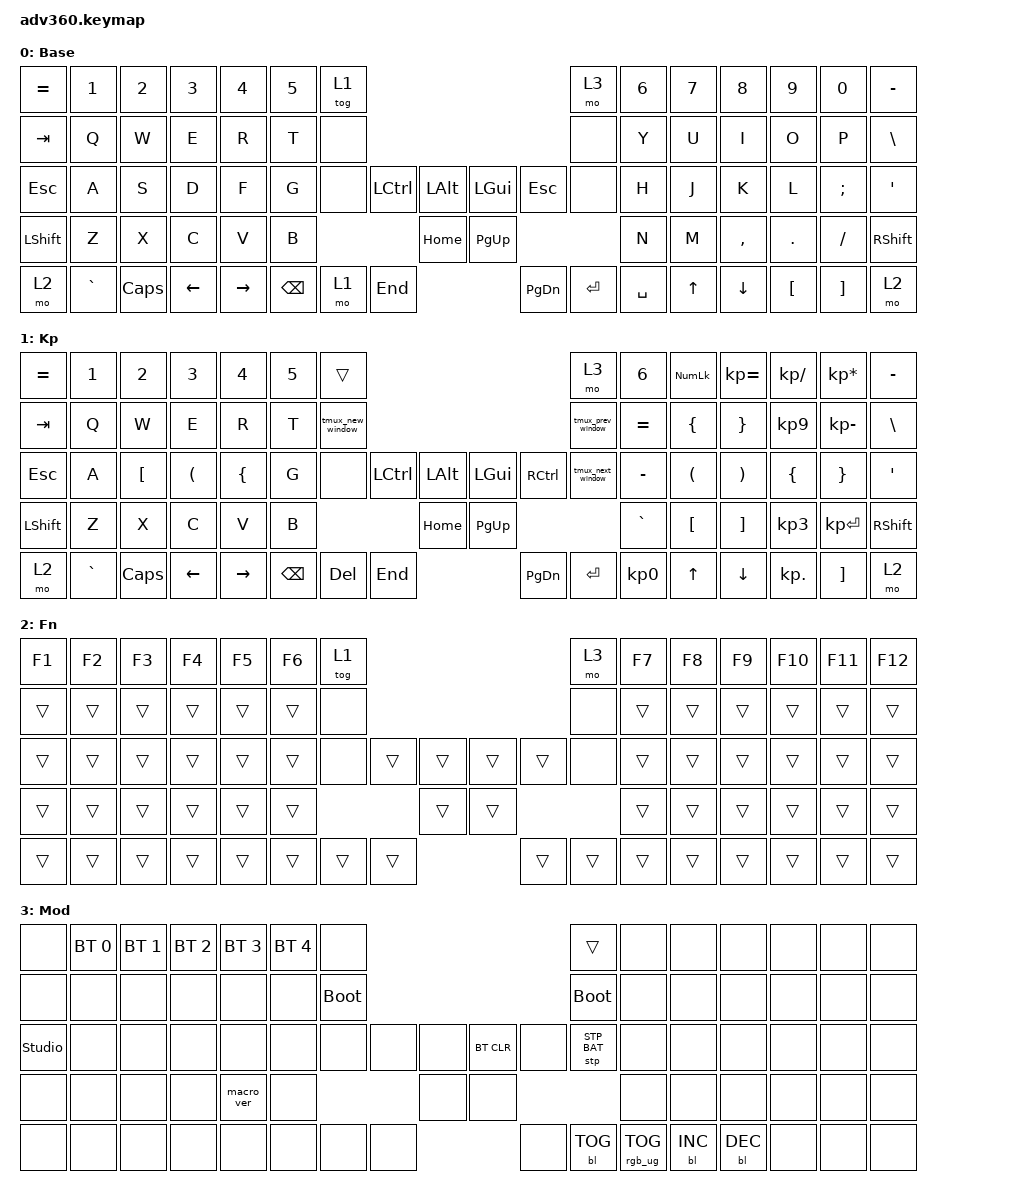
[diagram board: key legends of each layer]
#include <dt-bindings/zmk/stp.h>
#include <behaviors.dtsi>
#include <dt-bindings/zmk/backlight.h>
#include <dt-bindings/zmk/bt.h>
#include <dt-bindings/zmk/keys.h>
#include <dt-bindings/zmk/rgb.h>

/ {
    behaviors {
        #include "macros.dtsi"
      #include "version.dtsi"

        hm: homerow_mods {
            compatible = "zmk,behavior-hold-tap";
            label = "HOMEROW_MODS";
            #binding-cells = <2>;
            tapping-term-ms = <200>;
            quick_tap_ms = <175>;
            flavor = "tap-preferred";
            bindings = <&kp>, <&kp>;
        };
    };

    macros {
        tmux_new_window: tmux_new_window {
            compatible = "zmk,behavior-macro";
            #binding-cells = <0>;
            bindings = <&kp LC(B) &kp C>;
            label = "TMUX_NEW_WINDOW";
        };

        tmux_prev_window: tmux_prev_window {
            compatible = "zmk,behavior-macro";
            #binding-cells = <0>;
            bindings = <&kp LC(B) &kp P>;
            label = "TMUX_PREV_WINDOW";
        };

        tmux_next_window: tmux_next_window {
            compatible = "zmk,behavior-macro";
            #binding-cells = <0>;
            bindings = <&kp LC(B) &kp N>;
            label = "TMUX_NEXT_WINDOW";
        };
    };

    keymap {
        compatible = "zmk,keymap";

        default_layer {
            display-name = "Base";
            bindings = <
&kp EQUAL  &kp N1     &kp N2    &kp N3    &kp N4     &kp N5  &tog 1                                                                     &mo 3  &kp N6  &kp N7  &kp N8     &kp N9    &kp N0    &kp MINUS
&kp TAB    &kp Q      &kp W     &kp E     &kp R      &kp T   &none                                                                      &none  &kp Y   &kp U   &kp I      &kp O     &kp P     &kp BSLH
&kp ESC    &kp A      &kp S     &kp D     &kp F      &kp G   &none             &kp LCTRL  &kp LALT    &kp LGUI   &kp ESCAPE             &none  &kp H   &kp J   &kp K      &kp L     &kp SEMI  &kp SQT
&kp LSHFT  &kp Z      &kp X     &kp C     &kp V      &kp B                                &kp HOME    &kp PG_UP                                &kp N   &kp M   &kp COMMA  &kp DOT   &kp FSLH  &kp RSHFT
&mo 2      &kp GRAVE  &kp CAPS  &kp LEFT  &kp RIGHT                  &kp BSPC  &mo 1      &kp END     &kp PG_DN  &kp ENTER   &kp SPACE                 &kp UP  &kp DOWN   &kp LBKT  &kp RBKT  &mo 2
            >;
        };

        keypad {
            display-name = "Kp";
            bindings = <
&kp EQUAL  &kp N1     &kp N2            &kp N3                &kp N4          &kp N5  &trans                                                                              &mo 3              &kp N6     &kp KP_NUM            &kp KP_EQUAL           &kp KP_DIVIDE   &kp KP_MULTIPLY  &kp MINUS
&kp TAB    &kp Q      &kp W             &kp E                 &kp R           &kp T   &tmux_new_window                                                                    &tmux_prev_window  &kp EQUAL  &kp LEFT_BRACE        &kp RIGHT_BRACE        &kp KP_N9       &kp KP_MINUS     &kp BSLH
&kp ESC    &kp A      &kp LEFT_BRACKET  &kp LEFT_PARENTHESIS  &kp LEFT_BRACE  &kp G   &none                       &kp LCTRL  &kp LALT    &kp LGUI   &kp RCTRL             &tmux_next_window  &kp MINUS  &kp LEFT_PARENTHESIS  &kp RIGHT_PARENTHESIS  &kp LEFT_BRACE  &kp RIGHT_BRACE  &kp SQT
&kp LSHFT  &kp Z      &kp X             &kp C                 &kp V           &kp B                                          &kp HOME    &kp PG_UP                                           &kp GRAVE  &kp LEFT_BRACKET      &kp RIGHT_BRACKET      &kp KP_N3       &kp KP_ENTER     &kp RSHFT
&mo 2      &kp GRAVE  &kp CAPS          &kp LEFT              &kp RIGHT                                 &kp BSPC  &kp DEL    &kp END     &kp PG_DN  &kp ENTER  &kp KP_N0                                &kp UP                &kp DOWN               &kp KP_DOT      &kp RBKT         &mo 2
            >;
        };

        fn {
            display-name = "Fn";
            bindings = <
&kp F1  &kp F2  &kp F3  &kp F4  &kp F5  &kp F6  &tog 1                                                    &mo 3  &kp F7  &kp F8  &kp F9  &kp F10  &kp F11  &kp F12
&trans  &trans  &trans  &trans  &trans  &trans  &none                                                     &none  &trans  &trans  &trans  &trans   &trans   &trans
&trans  &trans  &trans  &trans  &trans  &trans  &none           &trans  &trans    &trans  &trans          &none  &trans  &trans  &trans  &trans   &trans   &trans
&trans  &trans  &trans  &trans  &trans  &trans                          &trans    &trans                         &trans  &trans  &trans  &trans   &trans   &trans
&trans  &trans  &trans  &trans  &trans                  &trans  &trans  &trans    &trans  &trans  &trans                 &trans  &trans  &trans   &trans   &trans
            >;
        };

        mod {
            display-name = "Mod";
            bindings = <
&none           &bt BT_SEL 0  &bt BT_SEL 1  &bt BT_SEL 2  &bt BT_SEL 3  &bt BT_SEL 4  &none                                                                        &trans        &none  &none       &none       &none  &none  &none
&none           &none         &none         &none         &none         &none         &bootloader                                                                  &bootloader   &none  &none       &none       &none  &none  &none
&studio_unlock  &none         &none         &none         &none         &none         &none               &none  &none    &bt BT_CLR  &none                        &stp STP_BAT  &none  &none       &none       &none  &none  &none
&none           &none         &none         &none         &macro_ver    &none                                    &none    &none                                                  &none  &none       &none       &none  &none  &none
&none           &none         &none         &none         &none                                    &none  &none  &none    &none       &bl BL_TOG  &rgb_ug RGB_TOG                       &bl BL_INC  &bl BL_DEC  &none  &none  &none
            >;
        };

        extra1 {
            display-name = "Red";
            status = "reserved";
        };

        extra2 {
            display-name = "Purple";
            status = "reserved";
        };

        extra3 {
            display-name = "Cyan";
            status = "reserved";
        };

        extra4 {
            display-name = "Yellow";
            status = "reserved";
        };
    };
};
